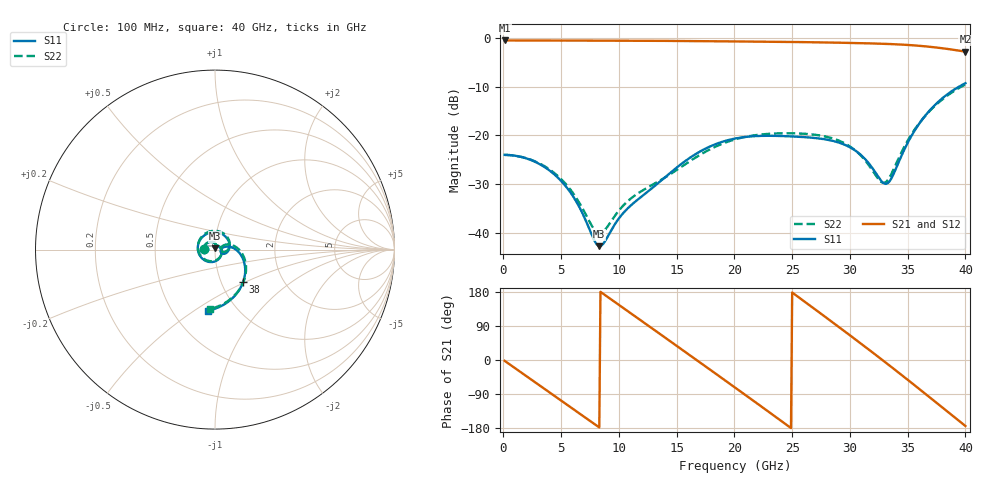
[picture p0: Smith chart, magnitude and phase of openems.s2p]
! C_s8_nonfp: L1→L8, antipad Ø0.9, non-functional pads removed
! stackup: 8-layer 1.6 mm FR-4 (generic)
! ports: 1, 2
! openEMS 0.37.0, staircase, fine mesh (dfine 0.0175 mm), 1331820 cells
# Hz S RI R 50
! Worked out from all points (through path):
!   400 points, 100 MHz to 40 GHz, reference 50 ohm
!   highest |S21| = -0.57 dB at 100 MHz (marker M1); lowest = -2.9 dB at 40 GHz (marker M2)
!   group delay of S21, straight-line fit = 61.6 ps
!   lowest |S11| = -42.7 dB at 8.3 GHz (marker M3), VSWR 1.01, Z = 50 + j0.734 ohm
!   |S11| at or under -10 dB: start of sweep to 39.47 GHz
!   |S22| runs from -40.1 to -9.6 dB; largest |S21 - S12| = 0.0043
!   S11 on the Smith chart (normalised r, x): 100 MHz: 0.88, +0.00; 38 GHz: 1.27, -0.49; 40 GHz: 0.74, -0.57
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1e8  -0.0632 0.00198  0.936 -0.035  0.936 -0.035  -0.0631 0.00201
1.7e9  -0.0512 0.0303  0.7532 -0.5562  0.7532 -0.5562  -0.0511 0.0307
3.6e9  -0.02 0.0426  0.2079 -0.9122  0.2079 -0.9121  -0.02 0.0437
5.1e9  0.000535 0.0331  -0.3092 -0.8821  -0.3092 -0.8821  0.000586 0.0347
6.8e9  0.00649 0.015  -0.7721 -0.5251  -0.7721 -0.5252  0.00661 0.0171
8.3e9  -0.000281 0.00734  -0.9324 -0.0327  -0.9324 -0.0327  -0.000117 0.00988
1.11e10  0.00297 0.0193  -0.4897 0.7919  -0.4897 0.792  0.00311 0.0227
1.34e10  0.0322 0.00447  0.2865 0.8831  0.2864 0.8833  0.0325 0.00883
1.52e10  0.0329 -0.0361  0.7758 0.5042  0.7761 0.5046  0.0336 -0.0312
1.67e10  0.0019 -0.0649  0.9221 0.00727  0.9227 0.00727  0.003 -0.0599
1.83e10  -0.0489 -0.0642  0.7583 -0.5186  0.7587 -0.5192  -0.0478 -0.0592
2.01e10  -0.0908 -0.0201  0.2572 -0.8781  0.2568 -0.8787  -0.0901 -0.015
2.19e10  -0.0892 0.0415  -0.3588 -0.8377  -0.3594 -0.8377  -0.0892 0.0471
2.38e10  -0.046 0.0874  -0.8232 -0.3807  -0.8233 -0.3804  -0.0465 0.094
2.67e10  0.0444 0.0836  -0.6888 0.5764  -0.6891 0.5762  0.0439 0.0925
2.82e10  0.0756 0.048  -0.2495 0.8566  -0.2502 0.8569  0.0758 0.0579
2.97e10  0.0787 0.00398  0.2719 0.8426  0.2716 0.8435  0.0798 0.0145
3.17e10  0.0448 -0.0236  0.7857 0.3836  0.7866 0.3844  0.0465 -0.0131
3.34e10  0.0335 0.000296  0.8363 -0.2063  0.8374 -0.2064  0.0349 0.0111
3.58e10  0.1216 -0.00409  0.2643 -0.7865  0.2657 -0.7873  0.1234 0.00958
3.8e10  0.1564 -0.1815  -0.4486 -0.6377  -0.4491 -0.6408  0.1632 -0.1667
4e10  -0.0372 -0.3397  -0.7157 -0.0737  -0.72 -0.0737  -0.0274 -0.3305
